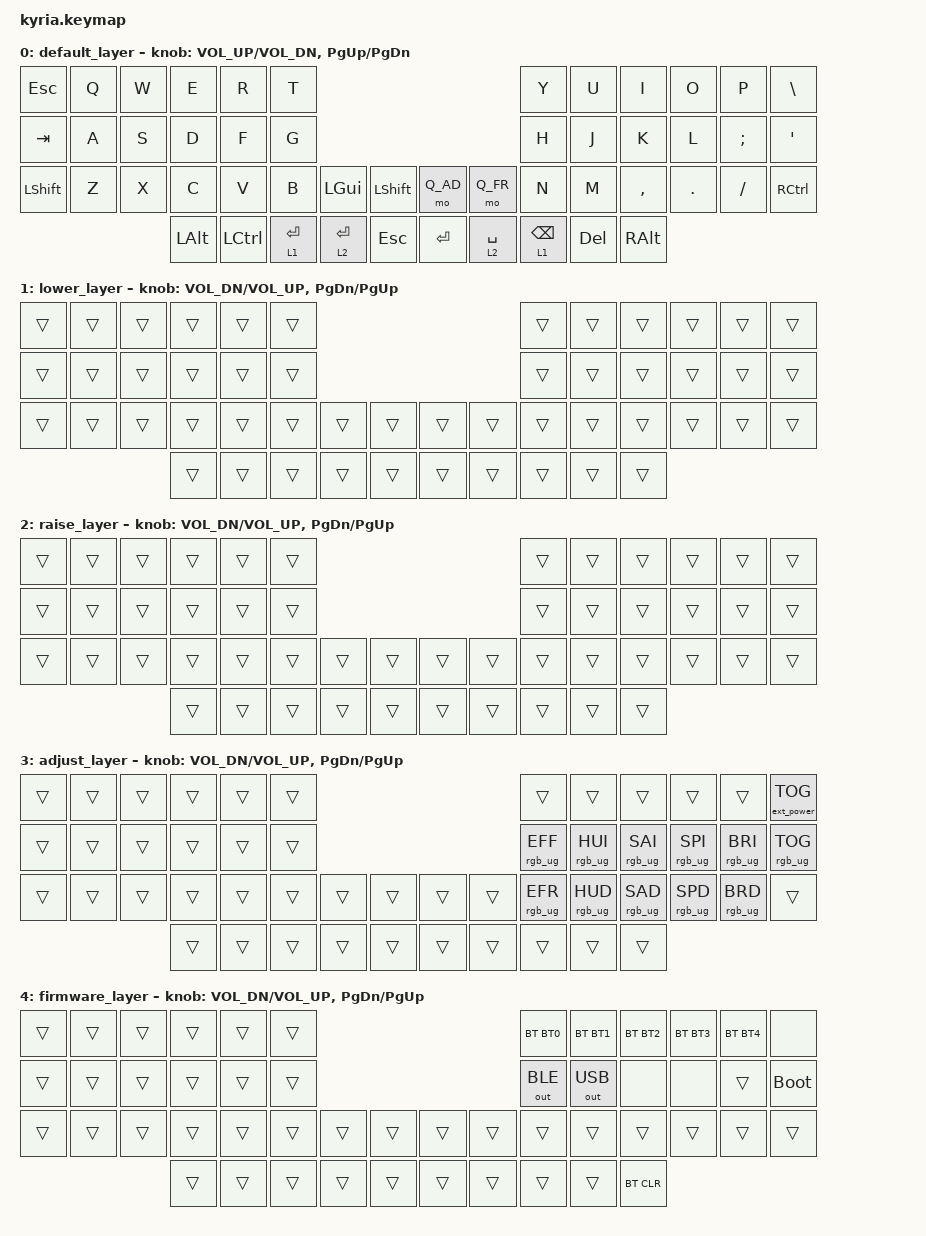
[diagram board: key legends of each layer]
/*
 * Copyright (c) 2020 The ZMK Contributors
 *
 * SPDX-License-Identifier: MIT
 */

#include <behaviors.dtsi>
#include <dt-bindings/zmk/bt.h>
#include <dt-bindings/zmk/ext_power.h>
#include <dt-bindings/zmk/keys.h>
#include <dt-bindings/zmk/outputs.h>
#include <dt-bindings/zmk/rgb.h>

// Layers

#define Q_MN	0		// Main
#define Q_LO	1		// Lower
#define Q_RS	2		// Raise
#define Q_AD	3		// Adjust
#define Q_FR	4		// Firmware

// Short versions

#define BT0     BT_SEL 0
#define BT1     BT_SEL 1
#define BT2     BT_SEL 2
#define BT3     BT_SEL 3
#define BT4     BT_SEL 4

/ {
    keymap {
        compatible = "zmk,keymap";

        default_layer {
            // ---------------------------------------------------------------------------------------------------------------------------------
            // |  ESC  |  Q  |  W  |  E   |  R   |  T   |                                          |  Y   |  U    |  I    |  O   |   P   |   \  |
            // |  TAB  |  A  |  S  |  D   |  F   |  G   |                                          |  H   |  J    |  K    |  L   |   ;   |   '  |
            // | SHIFT |  Z  |  X  |  C   |  V   |  B   | L LGUI  | L SHIFT |  | L ADJ   | L FIRM  |  N   |  M    |  ,    |  .   |   /   | CTRL |
            //                     | L-ALT| LCTRL| RET  |  RET    |   ESC   |  |   RET   |  SPACE  | BSPC |  DEL  | R-ALT |

            bindings = <
&kp ESC    &kp Q  &kp W  &kp E     &kp R      &kp T                                                   &kp Y       &kp U    &kp I      &kp O    &kp P     &kp BSLH
&kp TAB    &kp A  &kp S  &kp D     &kp F      &kp G                                                   &kp H       &kp J    &kp K      &kp L    &kp SEMI  &kp SQT
&kp LSHFT  &kp Z  &kp X  &kp C     &kp V      &kp B      &kp LGUI   &kp LSHFT  &mo Q_AD  &mo Q_FR     &kp N       &kp M    &kp COMMA  &kp DOT  &kp FSLH  &kp RCTRL
                         &kp LALT  &kp LCTRL  &lt 1 RET  &lt 2 RET  &kp ESC    &kp RET   &lt 2 SPACE  &lt 1 BSPC  &kp DEL  &kp RALT
            >;

            sensor-bindings = <&inc_dec_kp C_VOL_UP C_VOL_DN &inc_dec_kp PG_UP PG_DN>;
        };

        lower_layer {
            bindings = <
&trans  &trans  &trans  &trans  &trans  &trans                                  &trans  &trans  &trans  &trans  &trans  &trans
&trans  &trans  &trans  &trans  &trans  &trans                                  &trans  &trans  &trans  &trans  &trans  &trans
&trans  &trans  &trans  &trans  &trans  &trans  &trans  &trans  &trans  &trans  &trans  &trans  &trans  &trans  &trans  &trans
                        &trans  &trans  &trans  &trans  &trans  &trans  &trans  &trans  &trans  &trans
            >;

            sensor-bindings = <&inc_dec_kp C_VOL_DN C_VOL_UP &inc_dec_kp PG_DN PG_UP>;
        };

        raise_layer {
            bindings = <
&trans  &trans  &trans  &trans  &trans  &trans                                  &trans  &trans  &trans  &trans  &trans  &trans
&trans  &trans  &trans  &trans  &trans  &trans                                  &trans  &trans  &trans  &trans  &trans  &trans
&trans  &trans  &trans  &trans  &trans  &trans  &trans  &trans  &trans  &trans  &trans  &trans  &trans  &trans  &trans  &trans
                        &trans  &trans  &trans  &trans  &trans  &trans  &trans  &trans  &trans  &trans
            >;

            sensor-bindings = <&inc_dec_kp C_VOL_DN C_VOL_UP &inc_dec_kp PG_DN PG_UP>;
        };

        adjust_layer {
            bindings = <
&trans  &trans  &trans  &trans  &trans  &trans                                  &trans           &trans           &trans           &trans           &trans           &ext_power EP_TOG
&trans  &trans  &trans  &trans  &trans  &trans                                  &rgb_ug RGB_EFF  &rgb_ug RGB_HUI  &rgb_ug RGB_SAI  &rgb_ug RGB_SPI  &rgb_ug RGB_BRI  &rgb_ug RGB_TOG
&trans  &trans  &trans  &trans  &trans  &trans  &trans  &trans  &trans  &trans  &rgb_ug RGB_EFR  &rgb_ug RGB_HUD  &rgb_ug RGB_SAD  &rgb_ug RGB_SPD  &rgb_ug RGB_BRD  &trans
                        &trans  &trans  &trans  &trans  &trans  &trans  &trans  &trans           &trans           &trans
            >;

            sensor-bindings = <&inc_dec_kp C_VOL_DN C_VOL_UP &inc_dec_kp PG_DN PG_UP>;
        };

        firmware_layer {
            bindings = <
&trans  &trans  &trans  &trans  &trans  &trans                                  &bt BT0       &bt BT1       &bt BT2     &bt BT3  &bt BT4  &none
&trans  &trans  &trans  &trans  &trans  &trans                                  &out OUT_BLE  &out OUT_USB  &none       &none    &trans   &bootloader
&trans  &trans  &trans  &trans  &trans  &trans  &trans  &trans  &trans  &trans  &trans        &trans        &trans      &trans   &trans   &trans
                        &trans  &trans  &trans  &trans  &trans  &trans  &trans  &trans        &trans        &bt BT_CLR
            >;

            sensor-bindings = <&inc_dec_kp C_VOL_DN C_VOL_UP &inc_dec_kp PG_DN PG_UP>;
        };
    };
};
